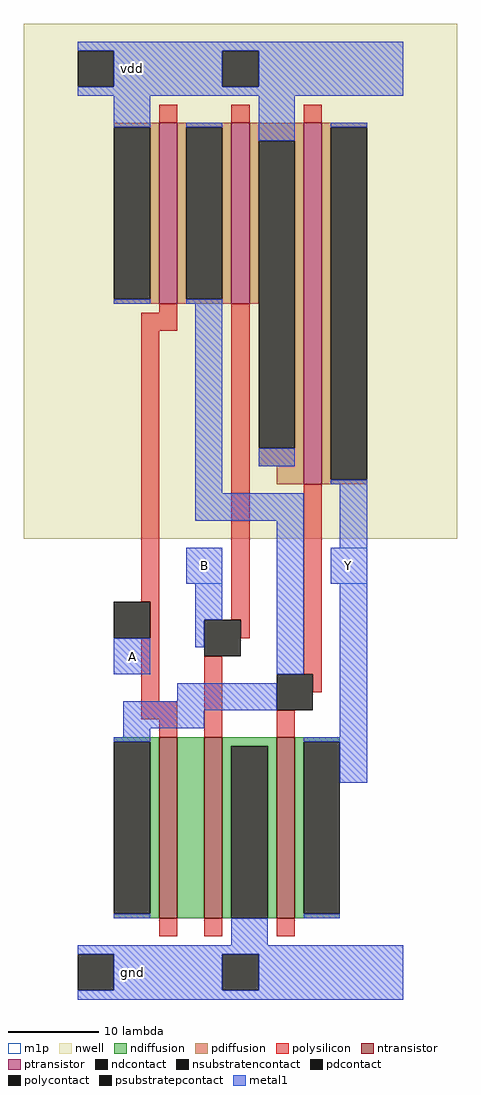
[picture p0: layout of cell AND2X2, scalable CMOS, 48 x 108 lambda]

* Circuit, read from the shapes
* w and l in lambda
.subckt AND2X2 A B Y vdd gnd
M1 n1 A n2 gnd nfet w=20 l=2
M2 gnd B n1 gnd nfet w=20 l=2
M3 Y n2 gnd gnd nfet w=20 l=2
M4 n2 A vdd vdd pfet w=20 l=2
M5 vdd B n2 vdd pfet w=20 l=2
M6 Y n2 vdd vdd pfet w=40 l=2
.ends

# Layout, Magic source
magic
tech scmos
magscale 1 2
<< nwell >>
rect -16 96 80 210
<< ntransistor >>
rect 14 12 18 52
rect 24 12 28 52
rect 40 12 44 52
<< ptransistor >>
rect 14 148 18 188
rect 30 148 34 188
rect 46 108 50 188
<< ndiffusion >>
rect 4 51 14 52
rect 12 13 14 51
rect 4 12 14 13
rect 18 12 24 52
rect 28 50 40 52
rect 28 12 30 50
rect 38 12 40 50
rect 44 51 54 52
rect 44 13 46 51
rect 44 12 54 13
<< pdiffusion >>
rect 4 187 14 188
rect 12 149 14 187
rect 4 148 14 149
rect 18 187 30 188
rect 18 149 20 187
rect 28 149 30 187
rect 18 148 30 149
rect 34 184 46 188
rect 34 148 36 184
rect 44 116 46 184
rect 36 112 46 116
rect 40 108 46 112
rect 50 187 60 188
rect 50 109 52 187
rect 50 108 60 109
<< ndcontact >>
rect 4 13 12 51
rect 30 12 38 50
rect 46 13 54 51
<< pdcontact >>
rect 4 149 12 187
rect 20 149 28 187
rect 36 116 44 184
rect 52 109 60 187
<< psubstratepcontact >>
rect -4 -4 4 4
rect 28 -4 36 4
<< nsubstratencontact >>
rect -4 196 4 204
rect 28 196 36 204
<< polysilicon >>
rect 14 188 18 192
rect 30 188 34 192
rect 46 188 50 192
rect 14 146 18 148
rect 10 142 18 146
rect 10 82 14 142
rect 12 74 14 82
rect 30 78 34 148
rect 10 60 14 74
rect 32 74 34 78
rect 10 56 18 60
rect 14 52 18 56
rect 24 52 28 70
rect 46 66 50 108
rect 48 62 50 66
rect 40 52 44 58
rect 14 8 18 12
rect 24 8 28 12
rect 40 8 44 12
<< polycontact >>
rect 4 74 12 82
rect 24 70 32 78
rect 40 58 48 66
<< metal1 >>
rect -4 204 68 206
rect 4 196 28 204
rect 36 196 68 204
rect -4 194 68 196
rect 4 187 12 194
rect 4 148 12 149
rect 20 187 28 188
rect 20 148 28 149
rect 22 106 28 148
rect 36 184 44 194
rect 36 112 44 116
rect 52 187 60 188
rect 52 108 60 109
rect 22 100 46 106
rect 20 86 28 94
rect 4 66 12 74
rect 22 78 28 86
rect 22 72 24 78
rect 40 66 46 100
rect 54 94 60 108
rect 52 86 60 94
rect 18 60 40 64
rect 6 58 40 60
rect 6 54 24 58
rect 6 52 12 54
rect 54 52 60 86
rect 4 51 12 52
rect 46 51 60 52
rect 4 12 12 13
rect 54 42 60 51
rect 46 12 54 13
rect 30 6 38 12
rect -4 4 68 6
rect 4 -4 28 4
rect 36 -4 68 4
rect -4 -6 68 -4
<< m1p >>
rect 20 86 28 94
rect 52 86 60 94
rect 4 66 12 74
<< labels >>
rlabel metal1 8 200 8 200 4 vdd
port 4 se
rlabel metal1 8 0 8 0 4 gnd
port 5 se
rlabel metal1 8 70 8 70 4 A
port 1 se
rlabel metal1 24 90 24 90 4 B
port 2 se
rlabel metal1 56 90 56 90 4 Y
port 3 se
<< end >>
